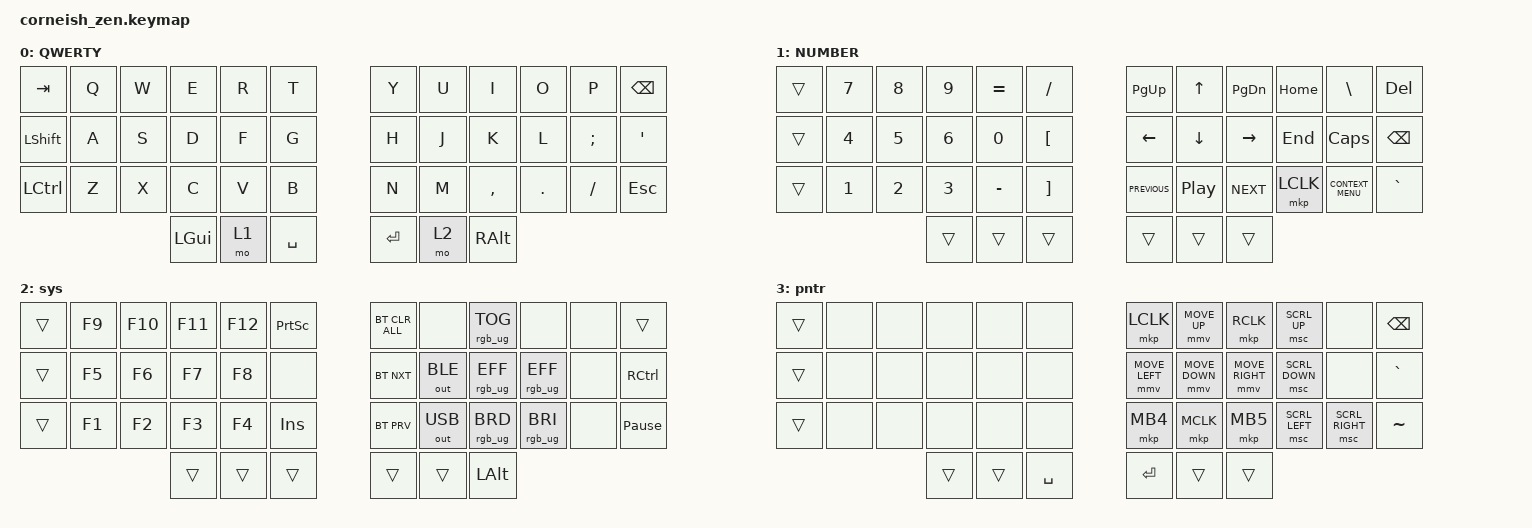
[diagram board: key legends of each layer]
/*
 * Copyright (c) 2020 The ZMK Contributors
 *
 * SPDX-License-Identifier: MIT
 */

#include <behaviors.dtsi>
#include <dt-bindings/zmk/bt.h>
#include <dt-bindings/zmk/keys.h>
#include <dt-bindings/zmk/mouse.h>
#include <dt-bindings/zmk/outputs.h>
#include <dt-bindings/zmk/rgb.h>
/ {
    chosen {
        zmk,matrix_transform = &default_transform;

        // zmk,matrix_transform = &five_column_transform;
    };
};

/ {
    //  Add tri-layer behavior here

    behaviors {
        tri_layer: sl_layer {
            compatible = "urob,zmk-behavior-simple-layer";
            label = "TRI_LAYER";
            layers = <1 2>;        // These are LWR and RSE layers
            target-layer = <3>;    // Layer 3 will activate when both are held
        };
    };

    keymap {
        compatible = "zmk,keymap";

        default_layer {
            display-name = "QWERTY";
            bindings = <
&kp TAB         &kp Q  &kp W  &kp E     &kp R  &kp T        &kp Y      &kp U  &kp I      &kp O    &kp P     &kp BSPC
&kp LEFT_SHIFT  &kp A  &kp S  &kp D     &kp F  &kp G        &kp H      &kp J  &kp K      &kp L    &kp SEMI  &kp SQT
&kp LCTRL       &kp Z  &kp X  &kp C     &kp V  &kp B        &kp N      &kp M  &kp COMMA  &kp DOT  &kp FSLH  &kp ESC
                              &kp LGUI  &mo 1  &kp SPACE    &kp ENTER  &mo 2  &kp RALT
            >;
        };

        lower_layer {
            display-name = "NUMBER";
            bindings = <
&trans  &kp N7        &kp N8        &kp N9        &kp EQUAL  &kp SLASH            &kp PG_UP       &kp UP_ARROW      &kp PAGE_DOWN    &kp HOME   &kp BACKSLASH       &kp DEL
&trans  &kp NUMBER_4  &kp N5        &kp NUMBER_6  &kp N0     &kp LEFT_BRACKET     &kp LEFT        &kp DOWN          &kp RIGHT_ARROW  &kp END    &kp CLCK            &kp BSPC
&trans  &kp NUMBER_1  &kp NUMBER_2  &kp NUMBER_3  &kp MINUS  &kp RIGHT_BRACKET    &kp C_PREVIOUS  &kp C_PLAY_PAUSE  &kp C_NEXT       &mkp LCLK  &kp K_CONTEXT_MENU  &kp GRAVE
                                    &trans        &trans     &trans               &trans          &trans            &trans
            >;
        };

        raise_layer {
            display-name = "sys";
            bindings = <
&trans  &kp F9  &kp F10  &kp F11  &kp F12  &kp PRINTSCREEN    &bt BT_CLR_ALL  &none         &rgb_ug RGB_TOG  &none            &none  &trans
&trans  &kp F5  &kp F6   &kp F7   &kp F8   &none              &bt BT_NXT      &out OUT_BLE  &rgb_ug RGB_EFF  &rgb_ug RGB_EFF  &none  &kp RCTRL
&trans  &kp F1  &kp F2   &kp F3   &kp F4   &kp INS            &bt BT_PRV      &out OUT_USB  &rgb_ug RGB_BRD  &rgb_ug RGB_BRI  &none  &kp PAUSE_BREAK
                         &trans   &trans   &trans             &trans          &trans        &kp LALT
            >;
        };

        layer_3 {
            display-name = "pntr";
            bindings = <
&trans  &none  &none  &none   &none   &none        &mkp LCLK       &mmv MOVE_UP    &mkp RCLK        &msc SCRL_UP    &none            &kp BSPC
&trans  &none  &none  &none   &none   &none        &mmv MOVE_LEFT  &mmv MOVE_DOWN  &mmv MOVE_RIGHT  &msc SCRL_DOWN  &none            &kp GRAVE
&trans  &none  &none  &none   &none   &none        &mkp MB4        &mkp MCLK       &mkp MB5         &msc SCRL_LEFT  &msc SCRL_RIGHT  &kp TILDE
                      &trans  &trans  &kp SPACE    &kp RET         &trans          &trans
            >;
        };
    };

    conditional_layers {
        compatible = "zmk,conditional-layers";

        PNTR {
            if-layers = <1 2>;
            then-layer = <3>; // Change from 3 to 4
        };
    };
};

